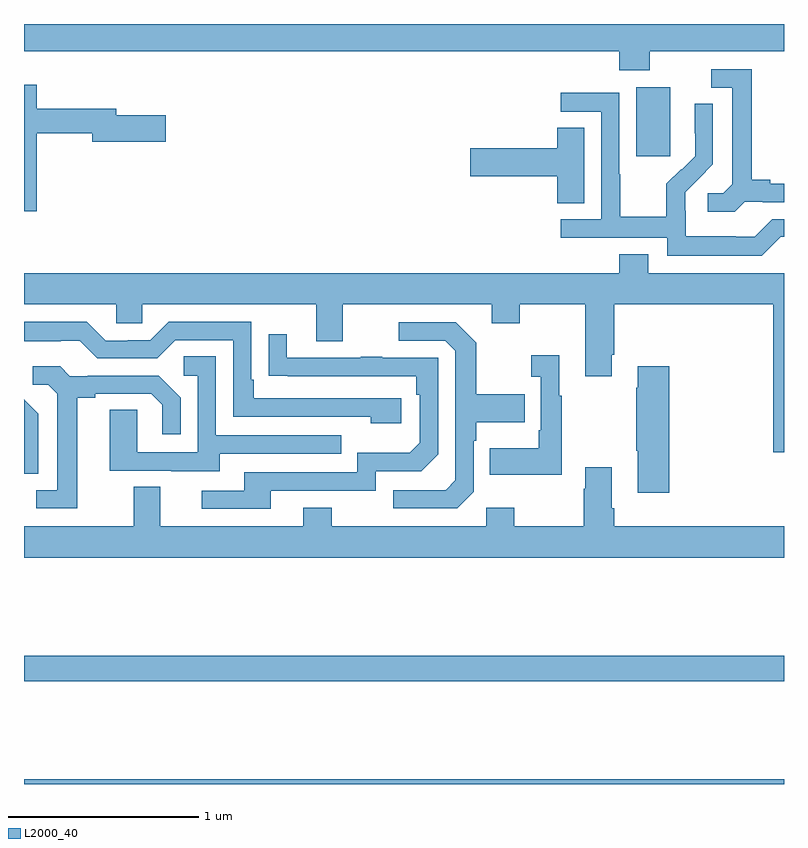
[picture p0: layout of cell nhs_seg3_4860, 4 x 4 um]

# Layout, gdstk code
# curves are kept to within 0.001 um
import gdstk
lib = gdstk.Library(unit=1e-6, precision=1e-09)
def R(c, l, rs):  # rectangles x0, y0, x1, y1
    for r in rs: c.add(gdstk.rectangle(r[:2], r[2:], *l))
def P(c, l, *ps):  # polygons
    for p in ps: c.add(gdstk.Polygon(p, *l))
L2000_40 = (2000, 40)

nhs_seg3_4860 = lib.new_cell('nhs_seg3_4860')
R(nhs_seg3_4860, L2000_40, [(373,690.4,377,690.424), (373,690.94,377,691.076), (376.223,693.705,376.402,694.066)])
P(nhs_seg3_4860, L2000_40, [(376.293,694.256),(377,694.256),(377,694.4),(373,694.4),(373,694.256),(376.133,694.256),(376.133,694.157),(376.293,694.157)],
  [(376.794,693.465),(376.888,693.465),(376.888,693.462),(377,693.462),(377,693.558),(376.927,693.558),(376.927,693.581),(376.831,693.581),(376.831,694.161),(376.617,694.161),(376.617,694.065),(376.727,694.065),(376.727,693.557),(376.68,693.51),(376.599,693.51),(376.599,693.413),(376.742,693.413)],
  [(373.067,693.826),(373.358,693.826),(373.358,693.779),(373.747,693.779),(373.747,693.921),(373.486,693.921),(373.486,693.955),(373.067,693.955),(373.067,694.081),(373,694.081),(373,693.414),(373.067,693.414)],
  [(376.983,693.279),(377,693.279),(377,693.372),(376.938,693.372),(376.845,693.279),(376.745,693.279),(376.745,693.283),(376.482,693.283),(376.482,693.417),(376.48,693.417),(376.48,693.514),(376.626,693.662),(376.626,693.98),(376.53,693.98),(376.53,693.826),(376.532,693.826),(376.532,693.704),(376.461,693.633),(376.458,693.636),(376.381,693.559),(376.381,693.385),(376.137,693.385),(376.137,693.608),(376.134,693.608),(376.134,694.038),(375.825,694.038),(375.825,693.939),(376.038,693.939),(376.038,693.372),(375.825,693.372),(375.825,693.276),(376.386,693.276),(376.386,693.179),(376.883,693.179)],
  [(375.949,693.854),(375.806,693.854),(375.806,693.746),(375.348,693.746),(375.348,693.599),(375.806,693.599),(375.806,693.457),(375.949,693.457)],
  [(377,693.088),(376.285,693.088),(376.285,693.187),(376.133,693.187),(376.133,693.088),(373,693.088),(373,692.924),(373.485,692.924),(373.485,692.826),(373.623,692.826),(373.623,692.924),(374.537,692.924),(374.537,692.73),(374.677,692.73),(374.677,692.924),(375.461,692.924),(375.461,692.825),(375.609,692.825),(375.609,692.924),(375.953,692.924),(375.953,692.547),(376.093,692.547),(376.093,692.659),(376.106,692.659),(376.106,692.924),(376.943,692.924),(376.943,692.145),(377,692.145)],
  [(374.986,692.43),(374.209,692.43),(374.209,692.527),(374.196,692.527),(374.196,692.832),(373.761,692.832),(373.665,692.736),(373.547,692.736),(373.547,692.733),(373.431,692.733),(373.331,692.833),(373,692.833),(373,692.729),(373.193,692.729),(373.193,692.733),(373.293,692.733),(373.386,692.64),(373.701,692.64),(373.797,692.736),(374.1,692.736),(374.1,692.334),(374.825,692.334),(374.825,692.3),(374.986,692.3)],
  [(375.366,691.938),(375.366,692.207),(375.379,692.207),(375.379,692.303),(375.635,692.303),(375.635,692.451),(375.379,692.451),(375.379,692.723),(375.273,692.829),(374.973,692.829),(374.973,692.733),(375.216,692.733),(375.27,692.679),(375.27,691.998),(375.219,691.947),(374.943,691.947),(374.943,691.851),(375.279,691.851)],
  [(374.299,691.944),(374.85,691.944),(374.85,692.046),(375.09,692.046),(375.18,692.136),(375.18,692.643),(374.885,692.643),(374.885,692.648),(374.773,692.648),(374.773,692.643),(374.383,692.643),(374.383,692.767),(374.287,692.767),(374.287,692.548),(375.064,692.547),(375.064,692.45),(375.084,692.45),(375.084,692.196),(375.031,692.143),(374.754,692.143),(374.754,692.04),(374.159,692.04),(374.159,691.944),(373.935,691.944),(373.935,691.848),(374.299,691.848)],
  [(375.829,692.443),(375.817,692.443),(375.817,692.656),(375.669,692.656),(375.669,692.543),(375.72,692.543),(375.72,692.263),(375.708,692.263),(375.708,692.167),(375.451,692.167),(375.451,692.027),(375.829,692.027)],
  [(374.029,692.139),(374.669,692.139),(374.669,692.235),(374.01,692.235),(374.01,692.651),(373.842,692.651),(373.842,692.55),(373.914,692.55),(373.914,692.145),(373.596,692.145),(373.596,692.369),(373.451,692.369),(373.451,692.049),(373.775,692.049),(373.775,692.045),(374.029,692.045)],
  [(376.397,692.599),(376.229,692.599),(376.229,692.486),(376.222,692.486),(376.222,692.155),(376.229,692.155),(376.229,691.932),(376.397,691.932)],
  [(373.279,692.432),(373.375,692.432),(373.375,692.454),(373.67,692.454),(373.727,692.397),(373.727,692.241),(373.824,692.241),(373.824,692.434),(373.708,692.55),(373.336,692.55),(373.336,692.547),(373.242,692.547),(373.19,692.599),(373.047,692.599),(373.047,692.502),(373.128,692.502),(373.175,692.455),(373.175,691.947),(373.065,691.947),(373.065,691.851),(373.279,691.851)],
  [(373.074,692.35),(373.001,692.423),(373.002,692.424),(373,692.426),(373,692.032),(373.074,692.032)],
  [(377,691.756),(376.106,691.756),(376.106,691.852),(376.093,691.852),(376.093,692.068),(375.953,692.068),(375.953,691.955),(375.946,691.955),(375.946,691.756),(375.579,691.756),(375.579,691.855),(375.432,691.855),(375.432,691.756),(374.619,691.756),(374.619,691.855),(374.471,691.855),(374.471,691.756),(373.717,691.756),(373.717,691.964),(373.577,691.964),(373.577,691.756),(373,691.756),(373,691.592),(377,691.592)])

lib.write_gds('nhs_seg3_4860.gds')
